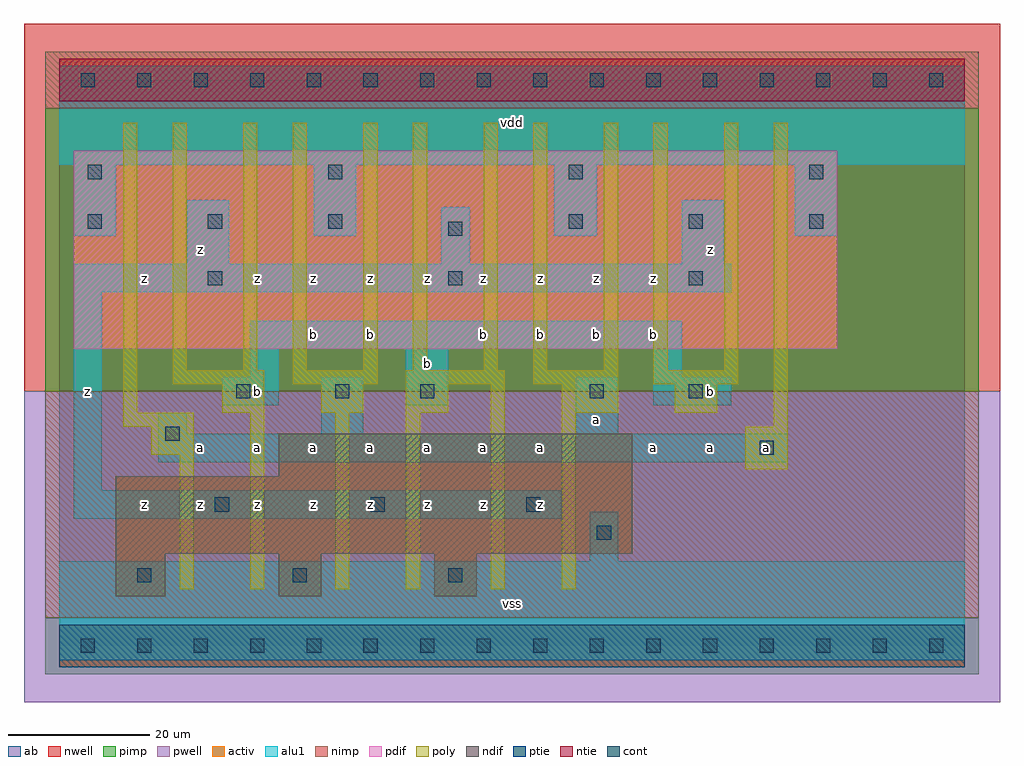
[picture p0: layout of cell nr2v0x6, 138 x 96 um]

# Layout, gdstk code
import gdstk
lib = gdstk.Library(unit=1e-6, precision=1e-09)
def R(c, l, rs):  # rectangles x0, y0, x1, y1
    for r in rs: c.add(gdstk.rectangle(r[:2], r[2:], *l))
def A(c, l, x, y, w, h, nx, ny, dx, dy):  # array of equal rectangles
    R(c, l, [(x+i*dx, y+j*dy, x+i*dx+w, y+j*dy+h) for i in range(nx) for j in range(ny)])
ndif = (3, 0)
pdif = (4, 0)
ntie = (5, 0)
ptie = (6, 0)
cont = (25, 0)
pwell = (41, 0)
nwell = (42, 0)
activ = (43, 0)
pimp = (44, 0)
nimp = (45, 0)
poly = (46, 0)
alu1 = (49, 0)
ab = (63, 0)

nr2v0x6 = lib.new_cell('nr2v0x6')
R(nr2v0x6, ndif, [(8,7,15,13), (31,7,37,13), (53,7,59,13), (8,13,81,24), (31,24,81,30)])
R(nr2v0x6, pdif, [(2,42,110,70)])
R(nr2v0x6, ntie, [(0,77,128,83)])
R(nr2v0x6, ptie, [(0,-3,128,3)])
A(nr2v0x6, cont, 3, -1, 2, 2, 16, 2, 8, 80)
A(nr2v0x6, cont, 11, 9, 2, 2, 3, 1, 22, 0)
A(nr2v0x6, cont, 22, 19, 2, 2, 3, 1, 22, 0)
A(nr2v0x6, cont, 21, 51, 2, 2, 3, 1, 34, 0)
A(nr2v0x6, cont, 4, 59, 2, 2, 3, 1, 17, 0)
A(nr2v0x6, cont, 72, 59, 2, 2, 3, 1, 17, 0)
A(nr2v0x6, cont, 4, 66, 2, 2, 4, 1, 34, 0)
R(nr2v0x6, cont, [(76,15,78,17), (99,27,101,29), (15,29,17,31), (25,35,27,37), (39,35,41,37), (51,35,53,37), (75,35,77,37), (89,35,91,37), (55,58,57,60)])
R(nr2v0x6, pwell, [(-5,-8,133,36)])
R(nr2v0x6, nwell, [(-5,36,133,88)])
R(nr2v0x6, activ, [(0,-3,128,3), (8,7,15,13), (31,7,37,13), (53,7,59,13), (8,13,81,24), (31,24,81,30), (2,42,110,70), (0,77,128,83)])
R(nr2v0x6, pimp, [(-2,-4,130,4), (-2,36,130,76)])
R(nr2v0x6, nimp, [(-2,4,130,36), (-2,76,130,84)])
R(nr2v0x6, poly, [(17,8,19,27), (27,8,29,33), (39,8,41,33), (49,8,51,33), (61,8,63,37), (71,8,73,33), (97,25,103,31), (13,27,19,31), (9,31,19,33), (101,31,103,74), (9,33,11,74), (23,33,29,37), (37,33,43,37), (49,33,55,37), (71,33,79,37), (87,33,93,37), (16,37,29,39), (33,37,45,39), (49,37,63,39), (67,37,79,39), (84,37,96,39), (16,39,18,74), (26,39,28,74), (33,39,35,74), (43,39,45,74), (50,39,52,74), (60,39,62,74), (67,39,69,74), (77,39,79,74), (84,39,86,74), (94,39,96,74)])
A(nr2v0x6, alu1, 2, 58, 6, 10, 4, 1, 34, 0)
R(nr2v0x6, alu1, [(0,-2,128,12), (75,12,79,19), (2,18,71,22), (2,22,6,50), (14,26,103,30), (14,30,18,33), (37,30,43,38), (73,30,79,38), (23,34,31,38), (49,34,55,42), (84,34,95,38), (27,38,31,42), (84,38,88,42), (27,42,88,46), (2,50,95,54), (18,54,24,63), (54,54,58,62), (88,54,94,63), (0,68,128,82)])
R(nr2v0x6, ab, [(0,0,128,80)])
nr2v0x6.add(gdstk.Label('z', (12,20), layer=49, texttype=0))
nr2v0x6.add(gdstk.Label('z', (20,20), layer=49, texttype=0))
nr2v0x6.add(gdstk.Label('a', (20,28), layer=49, texttype=0))
nr2v0x6.add(gdstk.Label('z', (4,36), layer=49, texttype=0))
nr2v0x6.add(gdstk.Label('z', (12,52), layer=49, texttype=0))
nr2v0x6.add(gdstk.Label('z', (20,56), layer=49, texttype=0))
nr2v0x6.add(gdstk.Label('z', (28,20), layer=49, texttype=0))
nr2v0x6.add(gdstk.Label('a', (28,28), layer=49, texttype=0))
nr2v0x6.add(gdstk.Label('z', (36,20), layer=49, texttype=0))
nr2v0x6.add(gdstk.Label('a', (36,28), layer=49, texttype=0))
nr2v0x6.add(gdstk.Label('z', (44,20), layer=49, texttype=0))
nr2v0x6.add(gdstk.Label('a', (44,28), layer=49, texttype=0))
nr2v0x6.add(gdstk.Label('b', (28,36), layer=49, texttype=0))
nr2v0x6.add(gdstk.Label('b', (36,44), layer=49, texttype=0))
nr2v0x6.add(gdstk.Label('b', (44,44), layer=49, texttype=0))
nr2v0x6.add(gdstk.Label('z', (28,52), layer=49, texttype=0))
nr2v0x6.add(gdstk.Label('z', (36,52), layer=49, texttype=0))
nr2v0x6.add(gdstk.Label('z', (44,52), layer=49, texttype=0))
nr2v0x6.add(gdstk.Label('vss', (64,6), layer=49, texttype=0))
nr2v0x6.add(gdstk.Label('z', (52,20), layer=49, texttype=0))
nr2v0x6.add(gdstk.Label('a', (52,28), layer=49, texttype=0))
nr2v0x6.add(gdstk.Label('z', (60,20), layer=49, texttype=0))
nr2v0x6.add(gdstk.Label('a', (60,28), layer=49, texttype=0))
nr2v0x6.add(gdstk.Label('z', (68,20), layer=49, texttype=0))
nr2v0x6.add(gdstk.Label('a', (68,28), layer=49, texttype=0))
nr2v0x6.add(gdstk.Label('b', (52,40), layer=49, texttype=0))
nr2v0x6.add(gdstk.Label('b', (60,44), layer=49, texttype=0))
nr2v0x6.add(gdstk.Label('b', (68,44), layer=49, texttype=0))
nr2v0x6.add(gdstk.Label('z', (60,52), layer=49, texttype=0))
nr2v0x6.add(gdstk.Label('z', (68,52), layer=49, texttype=0))
nr2v0x6.add(gdstk.Label('z', (52,52), layer=49, texttype=0))
nr2v0x6.add(gdstk.Label('vdd', (64,74), layer=49, texttype=0))
nr2v0x6.add(gdstk.Label('a', (100,28), layer=49, texttype=0))
nr2v0x6.add(gdstk.Label('a', (84,28), layer=49, texttype=0))
nr2v0x6.add(gdstk.Label('a', (92,28), layer=49, texttype=0))
nr2v0x6.add(gdstk.Label('a', (76,32), layer=49, texttype=0))
nr2v0x6.add(gdstk.Label('b', (76,44), layer=49, texttype=0))
nr2v0x6.add(gdstk.Label('b', (84,44), layer=49, texttype=0))
nr2v0x6.add(gdstk.Label('b', (92,36), layer=49, texttype=0))
nr2v0x6.add(gdstk.Label('z', (84,52), layer=49, texttype=0))
nr2v0x6.add(gdstk.Label('z', (76,52), layer=49, texttype=0))
nr2v0x6.add(gdstk.Label('z', (92,56), layer=49, texttype=0))

lib.write_gds('nr2v0x6.gds')
